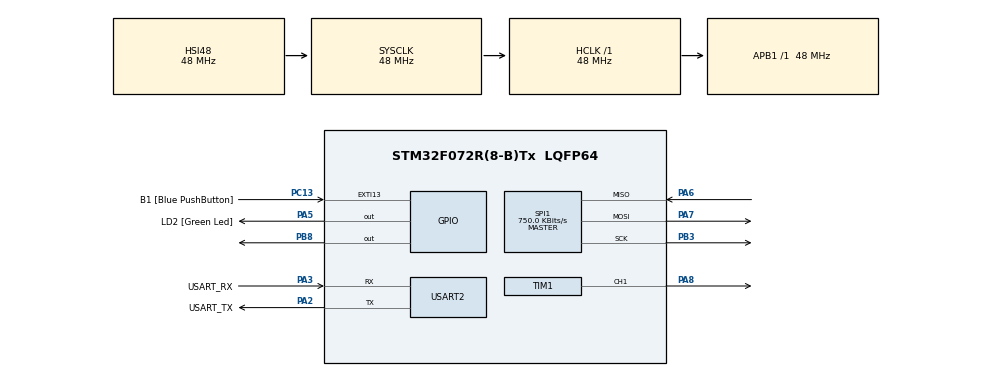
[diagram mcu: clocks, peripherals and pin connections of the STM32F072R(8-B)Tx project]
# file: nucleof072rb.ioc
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Mcu.Family=STM32F0
Mcu.Name=STM32F072R(8-B)Tx
Mcu.Package=LQFP64
PA13.GPIO_Label=TMS
PA13.Mode=Serial_Wire
PA13.Signal=SYS_SWDIO
PA14.GPIO_Label=TCK
PA14.Mode=Serial_Wire
PA14.Signal=SYS_SWCLK
PA2.GPIO_Label=USART_TX
PA2.GPIO_Mode=GPIO_MODE_AF_PP
PA2.GPIO_PuPd=GPIO_NOPULL
PA2.GPIO_Speed=GPIO_SPEED_FREQ_LOW
PA2.Mode=Asynchronous
PA2.Signal=USART2_TX
PA3.GPIO_Label=USART_RX
PA3.GPIO_Mode=GPIO_MODE_AF_PP
PA3.GPIO_PuPd=GPIO_NOPULL
PA3.GPIO_Speed=GPIO_SPEED_FREQ_LOW
PA3.Mode=Asynchronous
PA3.Signal=USART2_RX
PA5.GPIO_Label=LD2 [Green Led]
PA5.GPIO_Mode=GPIO_MODE_OUTPUT_PP
PA5.GPIO_PuPd=GPIO_NOPULL
PA5.GPIO_Speed=GPIO_SPEED_FREQ_LOW
PA5.Signal=GPIO_Output
PA6.Mode=Full_Duplex_Master
PA6.Signal=SPI1_MISO
PA7.Mode=Full_Duplex_Master
PA7.Signal=SPI1_MOSI
PA8.Signal=S_TIM1_CH1
PB3.Mode=Full_Duplex_Master
PB3.Signal=SPI1_SCK
PB8.Signal=GPIO_Output
PC13.GPIO_Label=B1 [Blue PushButton]
PC13.GPIO_ModeDefaultEXTI=GPIO_MODE_IT_FALLING
PC13.Signal=GPXTI13
PC14-OSC32_IN.Mode=LSE-External-Oscillator
PC14-OSC32_IN.Signal=RCC_OSC32_IN
PC15-OSC32_OUT.Mode=LSE-External-Oscillator
PC15-OSC32_OUT.Signal=RCC_OSC32_OUT
PF0-OSC_IN.Mode=HSE-External-Clock-Source
PF0-OSC_IN.Signal=RCC_OSC_IN
PF1-OSC_OUT.Signal=RCC_OSC_OUT
ProjectManager.HeapSize=0x200
ProjectManager.StackSize=0x400
ProjectManager.TargetToolchain=STM32CubeIDE
RCC.AHBFreq_Value=48000000
RCC.APB1Freq_Value=48000000
RCC.APB1TimFreq_Value=48000000
RCC.FLatency-AdvancedSettings=FLASH_LATENCY_1
RCC.HCLKFreq_Value=48000000
RCC.PLLDivider=RCC_PREDIV_DIV2
RCC.PLLMUL=RCC_PLL_MUL12
RCC.PREFETCH_ENABLE-AdvancedSettings=1
RCC.SYSCLKFreq_VALUE=48000000
RCC.SYSCLKSource=RCC_SYSCLKSOURCE_HSI48
SH.S_TIM1_CH1.0=TIM1_CH1,PWM Generation1 CH1
SPI1.BaudRatePrescaler=SPI_BAUDRATEPRESCALER_64
SPI1.CalculateBaudRate=750.0 KBits/s
SPI1.DataSize=SPI_DATASIZE_8BIT
SPI1.Direction=SPI_DIRECTION_2LINES
SPI1.Mode=SPI_MODE_MASTER
SPI1.VirtualType=VM_MASTER
TIM1.Channel-PWM\ Generation1\ CH1=TIM_CHANNEL_1
TIM1.Period=19999
TIM1.Prescaler=4799
USART2.VirtualMode=VM_ASYNC
USART2.VirtualMode-Asynchronous=VM_ASYNC
VP_TIM1_VS_ClockSourceINT.Mode=Internal
board=NUCLEO-F072RB

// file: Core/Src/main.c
/* USER CODE BEGIN Header */
/**
  ******************************************************************************
  * @file           : main.c
  * @brief          : Main program body
  ******************************************************************************
  * @attention
  *
  * <h2><center>&copy; Copyright (c) 2021 STMicroelectronics.
  * All rights reserved.</center></h2>
  *
  * This software component is licensed by ST under BSD 3-Clause license,
  * the "License"; You may not use this file except in compliance with the
  * License. You may obtain a copy of the License at:
  *                        opensource.org/licenses/BSD-3-Clause
  *
  ******************************************************************************
  */
/* USER CODE END Header */
#include "main.h"
#include "spi.h"
#include "tim.h"
#include "usart.h"
#include "gpio.h"

/* USER CODE BEGIN PV */
uint8_t pTxData[3];
uint8_t pRxData[3];
uint16_t adcVal = 0;
uint16_t pwmVal = 0;

/* USER CODE END PV */

void SystemClock_Config(void);

int main(void)
{

  /* MCU Configuration--------------------------------------------------------*/

  /* Reset of all peripherals, Initializes the Flash interface and the Systick. */
  HAL_Init();

  /* Configure the system clock */
  SystemClock_Config();

  /* Initialize all configured peripherals */
  MX_GPIO_Init();
  MX_USART2_UART_Init();
  MX_SPI1_Init();
  MX_TIM1_Init();
  /* USER CODE BEGIN 2 */
  HAL_TIM_PWM_Start(&htim1, TIM_CHANNEL_1);
  /* USER CODE END 2 */

  /* Infinite loop */
  /* USER CODE BEGIN WHILE */
  while (1)
  {
	pTxData[0] = 0x01;
	pTxData[1] = 0x80;
	pTxData[2] = 0x00;
	HAL_GPIO_WritePin(GPIOA, GPIO_PIN_8, GPIO_PIN_RESET);
	HAL_SPI_TransmitReceive(&hspi1, pTxData, pRxData, 3, HAL_MAX_DELAY);
	HAL_GPIO_WritePin(GPIOA, GPIO_PIN_8, GPIO_PIN_SET);
	adcVal = ((pRxData[1] & 0x03) << 8) | pRxData[2];
	pwmVal = 3200 + (adcVal * (6400 - 3200)) / 1023;
	__HAL_TIM_SET_COMPARE(&htim1, TIM_CHANNEL_1, pwmVal);
	HAL_Delay(10);
    /* USER CODE END WHILE */

  }
}

void SystemClock_Config(void)
{
  RCC_OscInitTypeDef RCC_OscInitStruct = {0};
  RCC_ClkInitTypeDef RCC_ClkInitStruct = {0};
  RCC_PeriphCLKInitTypeDef PeriphClkInit = {0};

  /** Initializes the RCC Oscillators according to the specified parameters
  * in the RCC_OscInitTypeDef structure.
  */
  RCC_OscInitStruct.OscillatorType = RCC_OSCILLATORTYPE_HSI48;
  RCC_OscInitStruct.HSI48State = RCC_HSI48_ON;
  RCC_OscInitStruct.PLL.PLLState = RCC_PLL_NONE;
  if (HAL_RCC_OscConfig(&RCC_OscInitStruct) != HAL_OK)
  {
    Error_Handler();
  }
  /** Initializes the CPU, AHB and APB buses clocks
  */
  RCC_ClkInitStruct.ClockType = RCC_CLOCKTYPE_HCLK|RCC_CLOCKTYPE_SYSCLK
                              |RCC_CLOCKTYPE_PCLK1;
  RCC_ClkInitStruct.SYSCLKSource = RCC_SYSCLKSOURCE_HSI48;
  RCC_ClkInitStruct.AHBCLKDivider = RCC_SYSCLK_DIV1;
  RCC_ClkInitStruct.APB1CLKDivider = RCC_HCLK_DIV1;

  if (HAL_RCC_ClockConfig(&RCC_ClkInitStruct, FLASH_LATENCY_1) != HAL_OK)
  {
    Error_Handler();
  }
  PeriphClkInit.PeriphClockSelection = RCC_PERIPHCLK_USART2;
  PeriphClkInit.Usart2ClockSelection = RCC_USART2CLKSOURCE_PCLK1;
  if (HAL_RCCEx_PeriphCLKConfig(&PeriphClkInit) != HAL_OK)
  {
    Error_Handler();
  }
}

void Error_Handler(void)
{
  __disable_irq();
  while (1)
  {
  }
}

/************************ (C) COPYRIGHT STMicroelectronics *****END OF FILE****/
